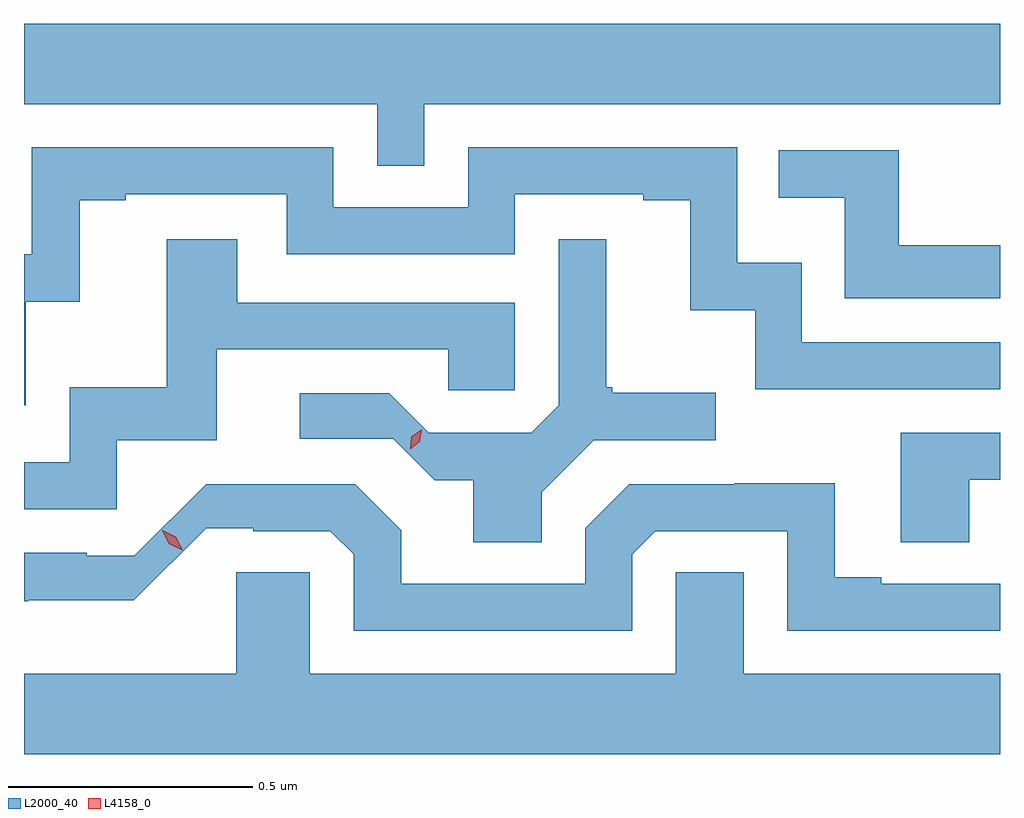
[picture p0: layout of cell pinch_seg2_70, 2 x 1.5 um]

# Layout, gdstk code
import gdstk
lib = gdstk.Library(unit=1e-6, precision=1e-09)
def P(c, l, *ps):  # polygons
    for p in ps: c.add(gdstk.Polygon(p, *l))
L2000_40 = (2000, 40)
L4158_0 = (4158, 0)

pinch_seg2_70 = lib.new_cell('pinch_seg2_70')
P(pinch_seg2_70, L2000_40, [(1042.5,656.96),(1043.68,656.96),(1043.68,657.124),(1041.68,657.124),(1041.68,656.96),(1042.404,656.96),(1042.404,656.833),(1042.5,656.833)],
  [(1041.684,656.555),(1041.794,656.555),(1041.794,656.763),(1041.889,656.763),(1041.889,656.775),(1042.218,656.775),(1042.218,656.652),(1042.686,656.652),(1042.686,656.775),(1042.949,656.775),(1042.949,656.763),(1043.045,656.763),(1043.045,656.537),(1043.178,656.537),(1043.178,656.376),(1043.68,656.376),(1043.68,656.472),(1043.274,656.472),(1043.274,656.635),(1043.142,656.635),(1043.142,656.871),(1042.59,656.871),(1042.59,656.748),(1042.314,656.748),(1042.314,656.871),(1041.696,656.871),(1041.696,656.652),(1041.68,656.652),(1041.68,656.343),(1041.684,656.343)],
  [(1043.68,656.671),(1043.473,656.671),(1043.473,656.865),(1043.227,656.865),(1043.227,656.768),(1043.362,656.768),(1043.362,656.562),(1043.68,656.562)],
  [(1042.741,656.164),(1042.848,656.271),(1043.098,656.271),(1043.098,656.368),(1042.885,656.368),(1042.885,656.38),(1042.873,656.38),(1042.873,656.683),(1042.776,656.683),(1042.776,656.343),(1042.719,656.286),(1042.509,656.286),(1042.428,656.367),(1042.245,656.367),(1042.245,656.274),(1042.437,656.274),(1042.522,656.189),(1042.601,656.189),(1042.601,656.062),(1042.741,656.062)],
  [(1041.87,656.271),(1042.075,656.271),(1042.075,656.457),(1042.549,656.457),(1042.549,656.373),(1042.686,656.373),(1042.686,656.553),(1042.117,656.553),(1042.117,656.683),(1041.973,656.683),(1041.973,656.38),(1041.774,656.38),(1041.774,656.226),(1041.68,656.226),(1041.68,656.13),(1041.87,656.13)],
  [(1043.617,656.19),(1043.68,656.19),(1043.68,656.286),(1043.477,656.286),(1043.477,656.062),(1043.617,656.062)],
  [(1042.926,656.037),(1042.974,656.085),(1043.244,656.085),(1043.244,655.881),(1043.68,655.881),(1043.68,655.977),(1043.437,655.977),(1043.437,655.99),(1043.341,655.99),(1043.341,656.183),(1043.136,656.183),(1043.136,656.181),(1042.92,656.181),(1042.83,656.091),(1042.83,655.977),(1042.453,655.977),(1042.453,656.087),(1042.359,656.181),(1042.053,656.181),(1041.906,656.034),(1041.809,656.034),(1041.809,656.04),(1041.68,656.04),(1041.68,655.941),(1041.689,655.941),(1041.689,655.943),(1041.905,655.943),(1042.053,656.091),(1042.15,656.091),(1042.15,656.085),(1042.308,656.085),(1042.356,656.037),(1042.356,655.881),(1042.926,655.881)],
  [(1043.68,655.792),(1043.155,655.792),(1043.155,656),(1043.016,656),(1043.016,655.792),(1042.266,655.792),(1042.266,656),(1042.115,656),(1042.115,655.792),(1041.68,655.792),(1041.68,655.628),(1043.68,655.628)])
P(pinch_seg2_70, L4158_0, [(1042.471,656.253),(1042.471,656.253),(1042.474,656.278),(1042.494,656.293),(1042.494,656.293),(1042.495,656.292),(1042.491,656.268),(1042.471,656.253)],
  [(1042.004,656.046),(1041.977,656.059),(1041.963,656.087),(1041.963,656.087),(1041.964,656.087),(1041.991,656.073),(1042.005,656.046),(1042.005,656.046)])

lib.write_gds('pinch_seg2_70.gds')
